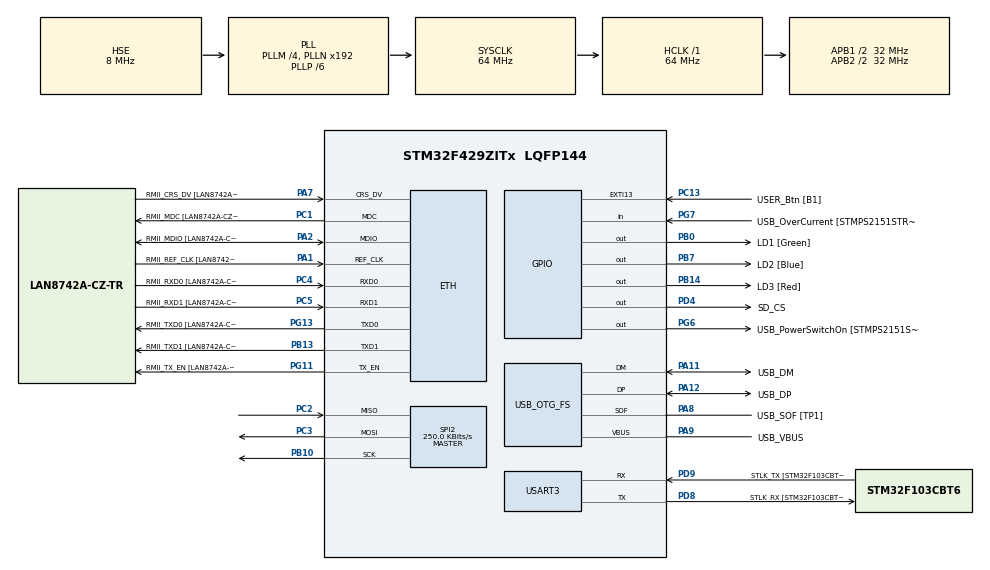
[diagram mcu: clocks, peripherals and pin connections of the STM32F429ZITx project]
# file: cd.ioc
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ETH.MediaInterface=HAL_ETH_RMII_MODE
ETH.PHY_Name=LAN8742A_PHY_ADDRESS
ETH.PHY_Value=0
ETH.PhyAddress=0
FATFS._MAX_SS=512
FATFS._USE_LFN=0
Mcu.Family=STM32F4
Mcu.Name=STM32F429ZITx
Mcu.Package=LQFP144
NVIC.PriorityGroup=NVIC_PRIORITYGROUP_4
NVIC.TIM2_IRQn=true\:0\:0\:false\:false\:true\:true\:true\:true
PA1.GPIO_Label=RMII_REF_CLK [LAN8742A-CZ-TR_REFCLK0]
PA1.Mode=RMII
PA1.Signal=ETH_REF_CLK
PA10.GPIO_Label=USB_ID
PA10.Signal=USB_OTG_FS_ID
PA11.GPIO_Label=USB_DM
PA11.Mode=Device_Only
PA11.Signal=USB_OTG_FS_DM
PA12.GPIO_Label=USB_DP
PA12.Mode=Device_Only
PA12.Signal=USB_OTG_FS_DP
PA13.GPIO_Label=TMS
PA13.Mode=Serial_Wire
PA13.Signal=SYS_JTMS-SWDIO
PA14.GPIO_Label=TCK
PA14.Mode=Serial_Wire
PA14.Signal=SYS_JTCK-SWCLK
PA2.GPIO_Label=RMII_MDIO [LAN8742A-CZ-TR_MDIO]
PA2.Mode=RMII
PA2.Signal=ETH_MDIO
PA7.GPIO_Label=RMII_CRS_DV [LAN8742A-CZ-TR_CRS_DV]
PA7.Mode=RMII
PA7.Signal=ETH_CRS_DV
PA8.GPIO_Label=USB_SOF [TP1]
PA8.Mode=Activate_SOF_FS
PA8.Signal=USB_OTG_FS_SOF
PA9.GPIO_Label=USB_VBUS
PA9.Mode=Activate_VBUS
PA9.Signal=USB_OTG_FS_VBUS
PB0.GPIO_Label=LD1 [Green]
PB0.Signal=GPIO_Output
PB10.Mode=Full_Duplex_Master
PB10.Signal=SPI2_SCK
PB13.GPIO_Label=RMII_TXD1 [LAN8742A-CZ-TR_TXD1]
PB13.Mode=RMII
PB13.Signal=ETH_TXD1
PB14.GPIO_Label=LD3 [Red]
PB14.Signal=GPIO_Output
PB7.GPIO_Label=LD2 [Blue]
PB7.Signal=GPIO_Output
PC1.GPIO_Label=RMII_MDC [LAN8742A-CZ-TR_MDC]
PC1.Mode=RMII
PC1.Signal=ETH_MDC
PC13.GPIO_Label=USER_Btn [B1]
PC13.Signal=GPXTI13
PC14/OSC32_IN.Mode=LSE-External-Oscillator
PC14/OSC32_IN.Signal=RCC_OSC32_IN
PC15/OSC32_OUT.Mode=LSE-External-Oscillator
PC15/OSC32_OUT.Signal=RCC_OSC32_OUT
PC2.Mode=Full_Duplex_Master
PC2.Signal=SPI2_MISO
PC3.Mode=Full_Duplex_Master
PC3.Signal=SPI2_MOSI
PC4.GPIO_Label=RMII_RXD0 [LAN8742A-CZ-TR_RXD0]
PC4.Mode=RMII
PC4.Signal=ETH_RXD0
PC5.GPIO_Label=RMII_RXD1 [LAN8742A-CZ-TR_RXD1]
PC5.Mode=RMII
PC5.Signal=ETH_RXD1
PD4.GPIO_Label=SD_CS
PD4.Signal=GPIO_Output
PD8.GPIO_Label=STLK_RX [STM32F103CBT6_PA3]
PD8.Mode=Asynchronous
PD8.Signal=USART3_TX
PD9.GPIO_Label=STLK_TX [STM32F103CBT6_PA2]
PD9.Mode=Asynchronous
PD9.Signal=USART3_RX
PG11.GPIO_Label=RMII_TX_EN [LAN8742A-CZ-TR_TXEN]
PG11.Mode=RMII
PG11.Signal=ETH_TX_EN
PG13.GPIO_Label=RMII_TXD0 [LAN8742A-CZ-TR_TXD0]
PG13.Mode=RMII
PG13.Signal=ETH_TXD0
PG6.GPIO_Label=USB_PowerSwitchOn [STMPS2151STR_EN]
PG6.Signal=GPIO_Output
PG7.GPIO_Label=USB_OverCurrent [STMPS2151STR_FAULT]
PG7.Signal=GPIO_Input
PH0/OSC_IN.GPIO_Label=MCO [STM32F103CBT6_PA8]
PH0/OSC_IN.Mode=HSE-External-Clock-Source
PH0/OSC_IN.Signal=RCC_OSC_IN
PH1/OSC_OUT.Mode=HSE-External-Clock-Source
PH1/OSC_OUT.Signal=RCC_OSC_OUT
ProjectManager.HeapSize=0x200
ProjectManager.StackSize=0x400
ProjectManager.TargetToolchain=STM32CubeIDE
RCC.48MHZClocksFreq_Value=48000000
RCC.AHBFreq_Value=64000000
RCC.APB1CLKDivider=RCC_HCLK_DIV2
RCC.APB1Freq_Value=32000000
RCC.APB1TimFreq_Value=64000000
RCC.APB2CLKDivider=RCC_HCLK_DIV2
RCC.APB2Freq_Value=32000000
RCC.APB2TimFreq_Value=64000000
RCC.CortexFreq_Value=64000000
RCC.HCLKFreq_Value=64000000
RCC.HSE_VALUE=8000000
RCC.HSI_VALUE=16000000
RCC.PLLM=4
RCC.PLLMUL=RCC_PLL_MUL9
RCC.PLLP=RCC_PLLP_DIV6
RCC.PLLQ=8
RCC.PRESCALERUSB=RCC_USBCLKSOURCE_PLL_DIV1_5
RCC.SYSCLKFreq_VALUE=64000000
RCC.SYSCLKSource=RCC_SYSCLKSOURCE_PLLCLK
RCC.SYSCLKSourceVirtual=RCC_SYSCLKSOURCE_PLLCLK
RCC.USBFreq_Value=48000000
RCC.VCOOutputFreq_Value=384000000
SPI2.BaudRatePrescaler=SPI_BAUDRATEPRESCALER_128
SPI2.CalculateBaudRate=250.0 KBits/s
SPI2.Direction=SPI_DIRECTION_2LINES
SPI2.Mode=SPI_MODE_MASTER
SPI2.VirtualType=VM_MASTER
TIM2.Period=10
TIM2.Prescaler=99
USART3.VirtualMode=VM_ASYNC
USB_OTG_FS.VirtualMode=Device_Only
VP_FATFS_VS_Generic.Mode=User_defined
VP_TIM2_VS_ClockSourceINT.Mode=Internal
board=NUCLEO-F429ZI

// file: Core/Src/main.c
/* USER CODE BEGIN Header */
/**
  ******************************************************************************
  * @file           : main.c
  * @brief          : Main program body
  ******************************************************************************
  * @attention
  *
  * Copyright (c) 2025 STMicroelectronics.
  * All rights reserved.
  *
  * This software is licensed under terms that can be found in the LICENSE file
  * in the root directory of this software component.
  * If no LICENSE file comes with this software, it is provided AS-IS.
  *
  ******************************************************************************
  */
/* USER CODE END Header */
#include "main.h"
#include "string.h"
#include "fatfs.h"
#include <stdarg.h> //for va_list var arg functions

ETH_TxPacketConfig TxConfig;
ETH_DMADescTypeDef  DMARxDscrTab[ETH_RX_DESC_CNT]; /* Ethernet Rx DMA Descriptors */
ETH_DMADescTypeDef  DMATxDscrTab[ETH_TX_DESC_CNT]; /* Ethernet Tx DMA Descriptors */

ETH_HandleTypeDef heth;

SPI_HandleTypeDef hspi2;

TIM_HandleTypeDef htim2;

UART_HandleTypeDef huart3;

PCD_HandleTypeDef hpcd_USB_OTG_FS;

/* USER CODE BEGIN PV */
char msg[50];
/* USER CODE END PV */

void SystemClock_Config(void);
static void MX_GPIO_Init(void);
static void MX_ETH_Init(void);
static void MX_USART3_UART_Init(void);
static void MX_USB_OTG_FS_PCD_Init(void);
static void MX_SPI2_Init(void);
static void MX_TIM2_Init(void);
/* USER CODE BEGIN PFP */
void myprintf(const char *fmt, ...);
/* USER CODE END PFP */

/* USER CODE BEGIN 0 */
void myprintf(const char *fmt, ...) {
  static char buffer[256];
  va_list args;
  va_start(args, fmt);
  vsnprintf(buffer, sizeof(buffer), fmt, args);
  va_end(args);

  int len = strlen(buffer);
  HAL_UART_Transmit(&huart3, (uint8_t*)buffer, len, -1);

}
/* USER CODE END 0 */

int main(void)
{

  /* MCU Configuration--------------------------------------------------------*/

  /* Reset of all peripherals, Initializes the Flash interface and the Systick. */
  HAL_Init();

  /* Configure the system clock */
  SystemClock_Config();

  /* Initialize all configured peripherals */
  MX_GPIO_Init();
  MX_ETH_Init();
  MX_USART3_UART_Init();
  MX_USB_OTG_FS_PCD_Init();
  MX_SPI2_Init();
  MX_TIM2_Init();
  MX_FATFS_Init();
  /* USER CODE BEGIN 2 */
  myprintf("\r\n~ SD card demo by kiwih ~\r\n\r\n");

  HAL_Delay(1000); //a short delay is important to let the SD card settle

  //some variables for FatFs
  FATFS FatFs; 	//Fatfs handle
  FIL fil; 		//File handle
  FRESULT fres; //Result after operations

  //Open the file system
  fres = f_mount(&FatFs, "", 1); //1=mount now
  if (fres != FR_OK) {
	myprintf("f_mount error (%i)\r\n", fres);

	while(1);
  }

  //Let's get some statistics from the SD card
  DWORD free_clusters, free_sectors, total_sectors;

  FATFS* getFreeFs;

  fres = f_getfree("", &free_clusters, &getFreeFs);
  if (fres != FR_OK) {
	myprintf("f_getfree error (%i)\r\n", fres);

	  	while(1);
  }

  //Formula comes from ChaN's documentation
  total_sectors = (getFreeFs->n_fatent - 2) * getFreeFs->csize;
  free_sectors = free_clusters * getFreeFs->csize;

  myprintf("SD card stats:\r\n%10lu KiB total drive space.\r\n%10lu KiB available.\r\n", total_sectors / 2, free_sectors / 2);

  //Now let's try to open file "test.txt"
  fres = f_open(&fil, "test.txt", FA_READ);
  if (fres != FR_OK) {
	myprintf("f_open error (%i)\r\n");

	while(1);
  }
  myprintf("I was able to open 'test.txt' for reading!\r\n");

  //Read 30 bytes from "test.txt" on the SD card
  BYTE readBuf[30];

  //We can either use f_read OR f_gets to get data out of files
  //f_gets is a wrapper on f_read that does some string formatting for us
  TCHAR* rres = f_gets((TCHAR*)readBuf, 30, &fil);
  if(rres != 0) {
	myprintf("Read string from 'test.txt' contents: %s\r\n", readBuf);
  } else {
	myprintf("f_gets error (%i)\r\n", fres);
  }

  //Be a tidy kiwi - don't forget to close your file!
  f_close(&fil);

  //Now let's try and write a file "write.txt"
  fres = f_open(&fil, "write.txt", FA_WRITE | FA_OPEN_ALWAYS | FA_CREATE_ALWAYS);
  if(fres == FR_OK) {
	myprintf("I was able to open 'write.txt' for writing\r\n");
  } else {
	myprintf("f_open error (%i)\r\n", fres);
  }

  //Copy in a string
  strncpy((char*)readBuf, "a new file is made!", 19);
  UINT bytesWrote;
  fres = f_write(&fil, readBuf, 19, &bytesWrote);
  if(fres == FR_OK) {
	myprintf("Wrote %i bytes to 'write.txt'!\r\n", bytesWrote);
  } else {
	myprintf("f_write error (%i)\r\n");
  }

  //Be a tidy kiwi - don't forget to close your file!
  f_close(&fil);

  //We're done, so de-mount the drive
  f_mount(NULL, "", 0);

  /* USER CODE END 2 */

  /* Infinite loop */
  /* USER CODE BEGIN WHILE */
  while (1)
  {
	  HAL_GPIO_TogglePin(LD1_GPIO_Port, LD1_Pin);
	  HAL_Delay(1000);
    /* USER CODE END WHILE */

  }
}

void SystemClock_Config(void)
{
  RCC_OscInitTypeDef RCC_OscInitStruct = {0};
  RCC_ClkInitTypeDef RCC_ClkInitStruct = {0};

  /** Configure the main internal regulator output voltage
  */
  __HAL_RCC_PWR_CLK_ENABLE();
  __HAL_PWR_VOLTAGESCALING_CONFIG(PWR_REGULATOR_VOLTAGE_SCALE3);

  /** Initializes the RCC Oscillators according to the specified parameters
  * in the RCC_OscInitTypeDef structure.
  */
  RCC_OscInitStruct.OscillatorType = RCC_OSCILLATORTYPE_HSE;
  RCC_OscInitStruct.HSEState = RCC_HSE_BYPASS;
  RCC_OscInitStruct.PLL.PLLState = RCC_PLL_ON;
  RCC_OscInitStruct.PLL.PLLSource = RCC_PLLSOURCE_HSE;
  RCC_OscInitStruct.PLL.PLLM = 4;
  RCC_OscInitStruct.PLL.PLLN = 192;
  RCC_OscInitStruct.PLL.PLLP = RCC_PLLP_DIV6;
  RCC_OscInitStruct.PLL.PLLQ = 8;
  if (HAL_RCC_OscConfig(&RCC_OscInitStruct) != HAL_OK)
  {
    Error_Handler();
  }

  /** Initializes the CPU, AHB and APB buses clocks
  */
  RCC_ClkInitStruct.ClockType = RCC_CLOCKTYPE_HCLK|RCC_CLOCKTYPE_SYSCLK
                              |RCC_CLOCKTYPE_PCLK1|RCC_CLOCKTYPE_PCLK2;
  RCC_ClkInitStruct.SYSCLKSource = RCC_SYSCLKSOURCE_PLLCLK;
  RCC_ClkInitStruct.AHBCLKDivider = RCC_SYSCLK_DIV1;
  RCC_ClkInitStruct.APB1CLKDivider = RCC_HCLK_DIV2;
  RCC_ClkInitStruct.APB2CLKDivider = RCC_HCLK_DIV2;

  if (HAL_RCC_ClockConfig(&RCC_ClkInitStruct, FLASH_LATENCY_2) != HAL_OK)
  {
    Error_Handler();
  }
}

static void MX_ETH_Init(void)
{

   static uint8_t MACAddr[6];

  heth.Instance = ETH;
  MACAddr[0] = 0x00;
  MACAddr[1] = 0x80;
  MACAddr[2] = 0xE1;
  MACAddr[3] = 0x00;
  MACAddr[4] = 0x00;
  MACAddr[5] = 0x00;
  heth.Init.MACAddr = &MACAddr[0];
  heth.Init.MediaInterface = HAL_ETH_RMII_MODE;
  heth.Init.TxDesc = DMATxDscrTab;
  heth.Init.RxDesc = DMARxDscrTab;
  heth.Init.RxBuffLen = 1524;

  if (HAL_ETH_Init(&heth) != HAL_OK)
  {
    Error_Handler();
  }

  memset(&TxConfig, 0 , sizeof(ETH_TxPacketConfig));
  TxConfig.Attributes = ETH_TX_PACKETS_FEATURES_CSUM | ETH_TX_PACKETS_FEATURES_CRCPAD;
  TxConfig.ChecksumCtrl = ETH_CHECKSUM_IPHDR_PAYLOAD_INSERT_PHDR_CALC;
  TxConfig.CRCPadCtrl = ETH_CRC_PAD_INSERT;

}

static void MX_SPI2_Init(void)
{

  /* SPI2 parameter configuration*/
  hspi2.Instance = SPI2;
  hspi2.Init.Mode = SPI_MODE_MASTER;
  hspi2.Init.Direction = SPI_DIRECTION_2LINES;
  hspi2.Init.DataSize = SPI_DATASIZE_8BIT;
  hspi2.Init.CLKPolarity = SPI_POLARITY_LOW;
  hspi2.Init.CLKPhase = SPI_PHASE_1EDGE;
  hspi2.Init.NSS = SPI_NSS_SOFT;
  hspi2.Init.BaudRatePrescaler = SPI_BAUDRATEPRESCALER_128;
  hspi2.Init.FirstBit = SPI_FIRSTBIT_MSB;
  hspi2.Init.TIMode = SPI_TIMODE_DISABLE;
  hspi2.Init.CRCCalculation = SPI_CRCCALCULATION_DISABLE;
  hspi2.Init.CRCPolynomial = 10;
  if (HAL_SPI_Init(&hspi2) != HAL_OK)
  {
    Error_Handler();
  }

}

static void MX_TIM2_Init(void)
{

  TIM_ClockConfigTypeDef sClockSourceConfig = {0};
  TIM_MasterConfigTypeDef sMasterConfig = {0};

  htim2.Instance = TIM2;
  htim2.Init.Prescaler = 99;
  htim2.Init.CounterMode = TIM_COUNTERMODE_UP;
  htim2.Init.Period = 10;
  htim2.Init.ClockDivision = TIM_CLOCKDIVISION_DIV1;
  htim2.Init.AutoReloadPreload = TIM_AUTORELOAD_PRELOAD_DISABLE;
  if (HAL_TIM_Base_Init(&htim2) != HAL_OK)
  {
    Error_Handler();
  }
  sClockSourceConfig.ClockSource = TIM_CLOCKSOURCE_INTERNAL;
  if (HAL_TIM_ConfigClockSource(&htim2, &sClockSourceConfig) != HAL_OK)
  {
    Error_Handler();
  }
  sMasterConfig.MasterOutputTrigger = TIM_TRGO_RESET;
  sMasterConfig.MasterSlaveMode = TIM_MASTERSLAVEMODE_DISABLE;
  if (HAL_TIMEx_MasterConfigSynchronization(&htim2, &sMasterConfig) != HAL_OK)
  {
    Error_Handler();
  }

}

static void MX_USART3_UART_Init(void)
{

  huart3.Instance = USART3;
  huart3.Init.BaudRate = 115200;
  huart3.Init.WordLength = UART_WORDLENGTH_8B;
  huart3.Init.StopBits = UART_STOPBITS_1;
  huart3.Init.Parity = UART_PARITY_NONE;
  huart3.Init.Mode = UART_MODE_TX_RX;
  huart3.Init.HwFlowCtl = UART_HWCONTROL_NONE;
  huart3.Init.OverSampling = UART_OVERSAMPLING_16;
  if (HAL_UART_Init(&huart3) != HAL_OK)
  {
    Error_Handler();
  }

}

static void MX_USB_OTG_FS_PCD_Init(void)
{

  hpcd_USB_OTG_FS.Instance = USB_OTG_FS;
  hpcd_USB_OTG_FS.Init.dev_endpoints = 4;
  hpcd_USB_OTG_FS.Init.speed = PCD_SPEED_FULL;
  hpcd_USB_OTG_FS.Init.dma_enable = DISABLE;
  hpcd_USB_OTG_FS.Init.phy_itface = PCD_PHY_EMBEDDED;
  hpcd_USB_OTG_FS.Init.Sof_enable = ENABLE;
  hpcd_USB_OTG_FS.Init.low_power_enable = DISABLE;
  hpcd_USB_OTG_FS.Init.lpm_enable = DISABLE;
  hpcd_USB_OTG_FS.Init.vbus_sensing_enable = ENABLE;
  hpcd_USB_OTG_FS.Init.use_dedicated_ep1 = DISABLE;
  if (HAL_PCD_Init(&hpcd_USB_OTG_FS) != HAL_OK)
  {
    Error_Handler();
  }

}

static void MX_GPIO_Init(void)
{
  GPIO_InitTypeDef GPIO_InitStruct = {0};

  /* GPIO Ports Clock Enable */
  __HAL_RCC_GPIOC_CLK_ENABLE();
  __HAL_RCC_GPIOH_CLK_ENABLE();
  __HAL_RCC_GPIOA_CLK_ENABLE();
  __HAL_RCC_GPIOB_CLK_ENABLE();
  __HAL_RCC_GPIOD_CLK_ENABLE();
  __HAL_RCC_GPIOG_CLK_ENABLE();

  /*Configure GPIO pin Output Level */
  HAL_GPIO_WritePin(GPIOB, LD1_Pin|LD3_Pin|LD2_Pin, GPIO_PIN_RESET);

  /*Configure GPIO pin Output Level */
  HAL_GPIO_WritePin(USB_PowerSwitchOn_GPIO_Port, USB_PowerSwitchOn_Pin, GPIO_PIN_RESET);

  /*Configure GPIO pin Output Level */
  HAL_GPIO_WritePin(SD_CS_GPIO_Port, SD_CS_Pin, GPIO_PIN_RESET);

  /*Configure GPIO pin : USER_Btn_Pin */
  GPIO_InitStruct.Pin = USER_Btn_Pin;
  GPIO_InitStruct.Mode = GPIO_MODE_IT_RISING;
  GPIO_InitStruct.Pull = GPIO_NOPULL;
  HAL_GPIO_Init(USER_Btn_GPIO_Port, &GPIO_InitStruct);

  /*Configure GPIO pins : LD1_Pin LD3_Pin LD2_Pin */
  GPIO_InitStruct.Pin = LD1_Pin|LD3_Pin|LD2_Pin;
  GPIO_InitStruct.Mode = GPIO_MODE_OUTPUT_PP;
  GPIO_InitStruct.Pull = GPIO_NOPULL;
  GPIO_InitStruct.Speed = GPIO_SPEED_FREQ_LOW;
  HAL_GPIO_Init(GPIOB, &GPIO_InitStruct);

  /*Configure GPIO pin : USB_PowerSwitchOn_Pin */
  GPIO_InitStruct.Pin = USB_PowerSwitchOn_Pin;
  GPIO_InitStruct.Mode = GPIO_MODE_OUTPUT_PP;
  GPIO_InitStruct.Pull = GPIO_NOPULL;
  GPIO_InitStruct.Speed = GPIO_SPEED_FREQ_LOW;
  HAL_GPIO_Init(USB_PowerSwitchOn_GPIO_Port, &GPIO_InitStruct);

  /*Configure GPIO pin : USB_OverCurrent_Pin */
  GPIO_InitStruct.Pin = USB_OverCurrent_Pin;
  GPIO_InitStruct.Mode = GPIO_MODE_INPUT;
  GPIO_InitStruct.Pull = GPIO_NOPULL;
  HAL_GPIO_Init(USB_OverCurrent_GPIO_Port, &GPIO_InitStruct);

  /*Configure GPIO pin : SD_CS_Pin */
  GPIO_InitStruct.Pin = SD_CS_Pin;
  GPIO_InitStruct.Mode = GPIO_MODE_OUTPUT_PP;
  GPIO_InitStruct.Pull = GPIO_NOPULL;
  GPIO_InitStruct.Speed = GPIO_SPEED_FREQ_LOW;
  HAL_GPIO_Init(SD_CS_GPIO_Port, &GPIO_InitStruct);

}

void Error_Handler(void)
{
  __disable_irq();
  while (1)
  {
  }
}
